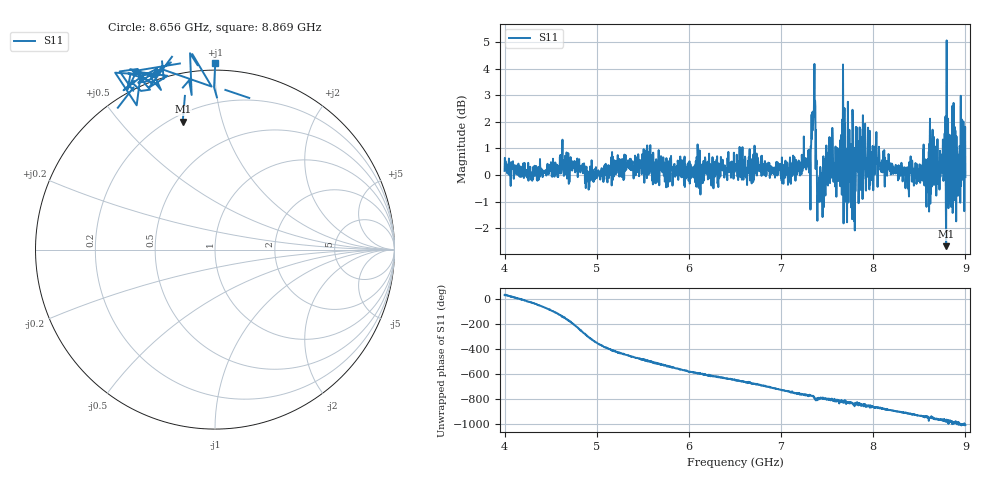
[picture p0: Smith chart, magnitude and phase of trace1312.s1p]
! Created with skrf 1.8.0 (http://scikit-rf.org).
# Hz S RI R 50.0
!freq ReS11 ImS11
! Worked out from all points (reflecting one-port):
!   1601 points, 4 GHz to 9 GHz, reference 50 ohm
!   lowest |S11| = -2.7 dB at 8.791 GHz (marker M1), VSWR 6.53, Z = 12.1 + j37.5 ohm
!   phase of S11 starts at 29 deg and turns -1041 deg over the sweep
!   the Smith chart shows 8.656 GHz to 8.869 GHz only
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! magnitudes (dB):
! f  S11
! 4 GHz  0.2
! 4.625 GHz  0.9
! 4.897 GHz  0.2
! 5.25 GHz  0.3
! 5.875 GHz  0.0
! 6.5 GHz  0.2
! 7.125 GHz  0.4
! 7.294 GHz  0.3
! 7.347 GHz  1.9
! 7.362 GHz  4.2
! 7.397 GHz  -1.0
! 7.416 GHz  -1.0
! 7.538 GHz  1.4
! 7.594 GHz  -0.1
! 7.669 GHz  -0.1
! 7.75 GHz  0.4
! 7.784 GHz  0.1
! 7.838 GHz  1.1
! 8.375 GHz  0.0
! 8.575 GHz  -0.8
! 8.634 GHz  -0.4
! 8.725 GHz  0.9
! 8.791 GHz  -2.7
! 8.841 GHz  0.9
! 8.878 GHz  1.1
! 8.919 GHz  -0.8
! 8.972 GHz  0.1
! 9 GHz  -0.1
